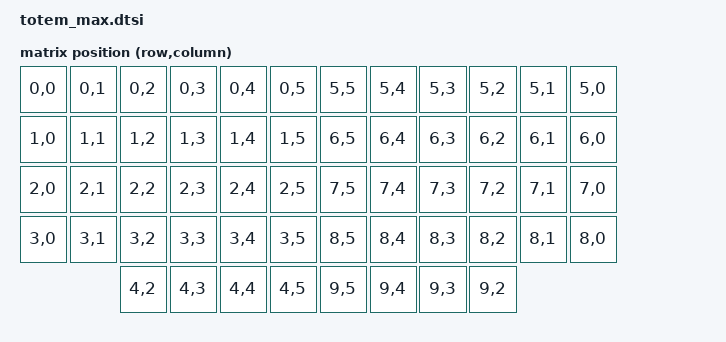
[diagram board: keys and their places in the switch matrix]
/*
 * Totem Max — shared devicetree definitions
 *
 * Unified transform: 10 rows × 6 cols.
 * Left  half: rows 0–4, cols 0–5.
 * Right half: rows 5–9, cols 0–5 (right overlay applies row-offset = 5).
 *
 * Keep physical_layout0 for ZMK Studio future use but NOT in chosen.
 */

#include <dt-bindings/zmk/matrix_transform.h>
#include "totem_max-layouts.dtsi"

/ {
    chosen {
        zmk,matrix-transform = &default_transform;
    };

    default_transform: keymap_transform_0 {
        compatible = "zmk,matrix-transform";
        columns = <6>;
        rows = <10>;

        map = <
        RC(0,0) RC(0,1) RC(0,2) RC(0,3) RC(0,4) RC(0,5)  RC(5,5) RC(5,4) RC(5,3) RC(5,2) RC(5,1) RC(5,0)
        RC(1,0) RC(1,1) RC(1,2) RC(1,3) RC(1,4) RC(1,5)  RC(6,5) RC(6,4) RC(6,3) RC(6,2) RC(6,1) RC(6,0)
        RC(2,0) RC(2,1) RC(2,2) RC(2,3) RC(2,4) RC(2,5)  RC(7,5) RC(7,4) RC(7,3) RC(7,2) RC(7,1) RC(7,0)
        RC(3,0) RC(3,1) RC(3,2) RC(3,3) RC(3,4) RC(3,5)  RC(8,5) RC(8,4) RC(8,3) RC(8,2) RC(8,1) RC(8,0)
                        RC(4,2) RC(4,3) RC(4,4) RC(4,5)  RC(9,5) RC(9,4) RC(9,3) RC(9,2)
        >;
    };
};

&physical_layout0 {
    transform = <&default_transform>;
};
